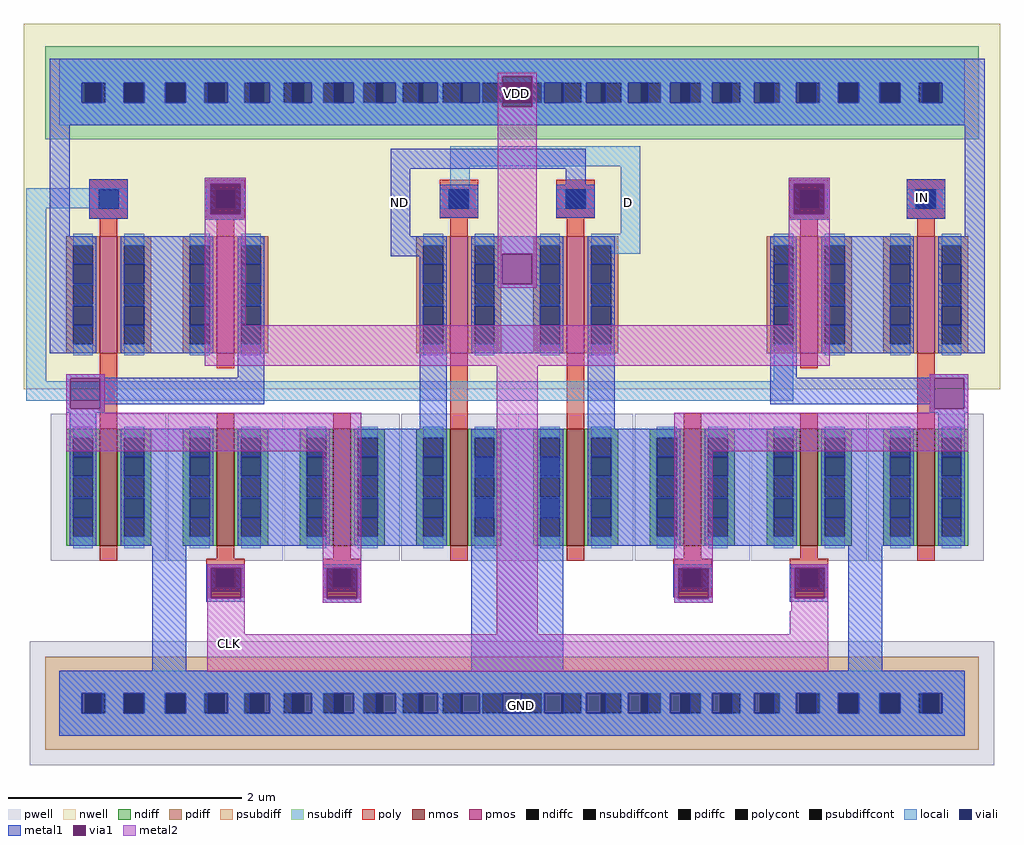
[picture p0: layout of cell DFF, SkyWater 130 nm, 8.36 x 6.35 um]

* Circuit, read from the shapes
.subckt DFF GND IN ND D VDD CLK
XM1 GND n1 n2 GND sky130_fd_pr__nfet_01v8 w=1 l=0.15
XM2 n3 CLK GND GND sky130_fd_pr__nfet_01v8 w=1 l=0.15
XM3 ND n2 n3 GND sky130_fd_pr__nfet_01v8 w=1 l=0.15
XM4 GND D ND GND sky130_fd_pr__nfet_01v8 w=1 l=0.15
XM5 D ND GND GND sky130_fd_pr__nfet_01v8 w=1 l=0.15
XM6 n4 n1 D GND sky130_fd_pr__nfet_01v8 w=1 l=0.15
XM7 GND CLK n4 GND sky130_fd_pr__nfet_01v8 w=1 l=0.15
XM8 n1 IN GND GND sky130_fd_pr__nfet_01v8 w=1 l=0.15
XM9 n5 n1 VDD VDD sky130_fd_pr__pfet_01v8 w=1 l=0.15
XM10 n2 CLK n5 VDD sky130_fd_pr__pfet_01v8 w=1 l=0.15
XM11 VDD D ND VDD sky130_fd_pr__pfet_01v8 w=1 l=0.15
XM12 D ND VDD VDD sky130_fd_pr__pfet_01v8 w=1 l=0.15
XM13 n6 CLK n1 VDD sky130_fd_pr__pfet_01v8 w=1 l=0.15
XM14 VDD IN n6 VDD sky130_fd_pr__pfet_01v8 w=1 l=0.15
.ends

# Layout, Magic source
magic
tech sky130A
magscale 1 2
<< nwell >>
rect -636 0 1036 626
<< pwell >>
rect -626 -644 1026 -432
<< psubdiff >>
rect -600 -521 1000 -458
rect -600 -555 -531 -521
rect -497 -555 -463 -521
rect -429 -555 -395 -521
rect -361 -555 -327 -521
rect -293 -555 -259 -521
rect -225 -555 -191 -521
rect -157 -555 -123 -521
rect -89 -555 -55 -521
rect -21 -555 13 -521
rect 47 -555 81 -521
rect 115 -555 149 -521
rect 183 -555 217 -521
rect 251 -555 285 -521
rect 319 -555 353 -521
rect 387 -555 421 -521
rect 455 -555 489 -521
rect 523 -555 557 -521
rect 591 -555 625 -521
rect 659 -555 693 -521
rect 727 -555 761 -521
rect 795 -555 829 -521
rect 863 -555 897 -521
rect 931 -555 1000 -521
rect -600 -618 1000 -555
<< nsubdiff >>
rect -600 525 1000 588
rect -600 491 -531 525
rect -497 491 -463 525
rect -429 491 -395 525
rect -361 491 -327 525
rect -293 491 -259 525
rect -225 491 -191 525
rect -157 491 -123 525
rect -89 491 -55 525
rect -21 491 13 525
rect 47 491 81 525
rect 115 491 149 525
rect 183 491 217 525
rect 251 491 285 525
rect 319 491 353 525
rect 387 491 421 525
rect 455 491 489 525
rect 523 491 557 525
rect 591 491 625 525
rect 659 491 693 525
rect 727 491 761 525
rect 795 491 829 525
rect 863 491 897 525
rect 931 491 1000 525
rect -600 428 1000 491
<< psubdiffcont >>
rect -531 -555 -497 -521
rect -463 -555 -429 -521
rect -395 -555 -361 -521
rect -327 -555 -293 -521
rect -259 -555 -225 -521
rect -191 -555 -157 -521
rect -123 -555 -89 -521
rect -55 -555 -21 -521
rect 13 -555 47 -521
rect 81 -555 115 -521
rect 149 -555 183 -521
rect 217 -555 251 -521
rect 285 -555 319 -521
rect 353 -555 387 -521
rect 421 -555 455 -521
rect 489 -555 523 -521
rect 557 -555 591 -521
rect 625 -555 659 -521
rect 693 -555 727 -521
rect 761 -555 795 -521
rect 829 -555 863 -521
rect 897 -555 931 -521
<< nsubdiffcont >>
rect -531 491 -497 525
rect -463 491 -429 525
rect -395 491 -361 525
rect -327 491 -293 525
rect -259 491 -225 525
rect -191 491 -157 525
rect -123 491 -89 525
rect -55 491 -21 525
rect 13 491 47 525
rect 81 491 115 525
rect 149 491 183 525
rect 217 491 251 525
rect 285 491 319 525
rect 353 491 387 525
rect 421 491 455 525
rect 489 491 523 525
rect 557 491 591 525
rect 625 491 659 525
rect 693 491 727 525
rect 761 491 795 525
rect 829 491 863 525
rect 897 491 931 525
<< poly >>
rect -506 -42 -476 36
rect 94 -42 124 36
rect 294 -42 324 36
rect 894 -42 924 36
<< locali >>
rect -576 525 976 566
rect -576 491 -537 525
rect -497 491 -465 525
rect -429 491 -395 525
rect -359 491 -327 525
rect -287 491 -259 525
rect -215 491 -191 525
rect -143 491 -123 525
rect -71 491 -55 525
rect 1 491 13 525
rect 73 491 81 525
rect 145 491 149 525
rect 251 491 255 525
rect 319 491 327 525
rect 387 491 399 525
rect 455 491 471 525
rect 523 491 543 525
rect 591 491 615 525
rect 659 491 687 525
rect 727 491 759 525
rect 795 491 829 525
rect 865 491 897 525
rect 937 491 976 525
rect -576 452 976 491
rect 94 382 420 416
rect -632 310 -458 344
rect 94 342 128 382
rect -632 14 -598 310
rect 386 266 420 382
rect 370 232 420 266
rect 648 14 682 58
rect -632 -20 682 14
rect -576 -521 976 -482
rect -576 -555 -537 -521
rect -497 -555 -465 -521
rect -429 -555 -395 -521
rect -359 -555 -327 -521
rect -287 -555 -259 -521
rect -215 -555 -191 -521
rect -143 -555 -123 -521
rect -71 -555 -55 -521
rect 1 -555 13 -521
rect 73 -555 81 -521
rect 145 -555 149 -521
rect 251 -555 255 -521
rect 319 -555 327 -521
rect 387 -555 399 -521
rect 455 -555 471 -521
rect 523 -555 543 -521
rect 591 -555 615 -521
rect 659 -555 687 -521
rect 727 -555 759 -521
rect 795 -555 829 -521
rect 865 -555 897 -521
rect 937 -555 976 -521
rect -576 -594 976 -555
<< viali >>
rect -537 491 -531 525
rect -531 491 -503 525
rect -465 491 -463 525
rect -463 491 -431 525
rect -393 491 -361 525
rect -361 491 -359 525
rect -321 491 -293 525
rect -293 491 -287 525
rect -249 491 -225 525
rect -225 491 -215 525
rect -177 491 -157 525
rect -157 491 -143 525
rect -105 491 -89 525
rect -89 491 -71 525
rect -33 491 -21 525
rect -21 491 1 525
rect 39 491 47 525
rect 47 491 73 525
rect 111 491 115 525
rect 115 491 145 525
rect 183 491 217 525
rect 255 491 285 525
rect 285 491 289 525
rect 327 491 353 525
rect 353 491 361 525
rect 399 491 421 525
rect 421 491 433 525
rect 471 491 489 525
rect 489 491 505 525
rect 543 491 557 525
rect 557 491 577 525
rect 615 491 625 525
rect 625 491 649 525
rect 687 491 693 525
rect 693 491 721 525
rect 759 491 761 525
rect 761 491 793 525
rect 831 491 863 525
rect 863 491 865 525
rect 903 491 931 525
rect 931 491 937 525
rect -537 -555 -531 -521
rect -531 -555 -503 -521
rect -465 -555 -463 -521
rect -463 -555 -431 -521
rect -393 -555 -361 -521
rect -361 -555 -359 -521
rect -321 -555 -293 -521
rect -293 -555 -287 -521
rect -249 -555 -225 -521
rect -225 -555 -215 -521
rect -177 -555 -157 -521
rect -157 -555 -143 -521
rect -105 -555 -89 -521
rect -89 -555 -71 -521
rect -33 -555 -21 -521
rect -21 -555 1 -521
rect 39 -555 47 -521
rect 47 -555 73 -521
rect 111 -555 115 -521
rect 115 -555 145 -521
rect 183 -555 217 -521
rect 255 -555 285 -521
rect 285 -555 289 -521
rect 327 -555 353 -521
rect 353 -555 361 -521
rect 399 -555 421 -521
rect 421 -555 433 -521
rect 471 -555 489 -521
rect 489 -555 505 -521
rect 543 -555 557 -521
rect 557 -555 577 -521
rect 615 -555 625 -521
rect 625 -555 649 -521
rect 687 -555 693 -521
rect 693 -555 721 -521
rect 759 -555 761 -521
rect 761 -555 793 -521
rect 831 -555 863 -521
rect 863 -555 865 -521
rect 903 -555 931 -521
rect 931 -555 937 -521
<< metal1 >>
rect -592 536 1010 566
rect -592 525 183 536
rect 235 525 1010 536
rect -592 491 -537 525
rect -503 491 -465 525
rect -431 491 -393 525
rect -359 491 -321 525
rect -287 491 -249 525
rect -215 491 -177 525
rect -143 491 -105 525
rect -71 491 -33 525
rect 1 491 39 525
rect 73 491 111 525
rect 145 491 183 525
rect 235 491 255 525
rect 289 491 327 525
rect 361 491 399 525
rect 433 491 471 525
rect 505 491 543 525
rect 577 491 615 525
rect 649 491 687 525
rect 721 491 759 525
rect 793 491 831 525
rect 865 491 903 525
rect 937 491 1010 525
rect -592 484 183 491
rect 235 484 1010 491
rect -592 452 1010 484
rect -592 62 -558 452
rect -8 378 326 412
rect -524 292 -458 360
rect -326 352 -256 362
rect -326 300 -317 352
rect -265 300 -256 352
rect -326 290 -256 300
rect -8 262 26 378
rect 292 350 326 378
rect 674 352 744 362
rect 76 294 142 350
rect 276 294 342 350
rect 674 300 683 352
rect 735 300 744 352
rect 674 290 744 300
rect 876 292 942 360
rect -424 62 -358 262
rect -8 228 42 262
rect 176 232 242 262
rect 176 180 183 232
rect 235 180 242 232
rect 176 62 242 180
rect 776 62 842 262
rect 976 62 1010 452
rect -564 20 -498 26
rect -270 20 -224 62
rect -564 19 -224 20
rect -564 -33 -557 19
rect -505 -26 -224 19
rect -505 -33 -498 -26
rect -564 -40 -498 -33
rect -558 -68 -512 -40
rect 42 -68 88 62
rect 330 -68 376 62
rect 642 20 688 62
rect 916 20 982 26
rect 642 19 982 20
rect 642 -26 923 19
rect 916 -33 923 -26
rect 975 -33 982 19
rect 916 -40 982 -33
rect 930 -68 976 -40
rect -430 -268 -358 -68
rect -224 -268 -158 -68
rect -24 -268 42 -68
rect -416 -482 -358 -268
rect -324 -306 -258 -300
rect -324 -358 -316 -306
rect -264 -358 -258 -306
rect -324 -364 -258 -358
rect -124 -307 -58 -300
rect -124 -359 -117 -307
rect -65 -359 -58 -307
rect -124 -366 -58 -359
rect 130 -482 288 -68
rect 376 -268 442 -68
rect 576 -268 642 -68
rect 776 -268 842 -68
rect 476 -307 544 -300
rect 476 -356 485 -307
rect 478 -359 485 -356
rect 537 -359 544 -307
rect 478 -366 544 -359
rect 676 -306 742 -300
rect 676 -358 684 -306
rect 736 -358 742 -306
rect 676 -364 742 -358
rect 776 -482 834 -268
rect -576 -521 976 -482
rect -576 -555 -537 -521
rect -503 -555 -465 -521
rect -431 -555 -393 -521
rect -359 -555 -321 -521
rect -287 -555 -249 -521
rect -215 -555 -177 -521
rect -143 -555 -105 -521
rect -71 -555 -33 -521
rect 1 -555 39 -521
rect 73 -555 111 -521
rect 145 -555 183 -521
rect 217 -555 255 -521
rect 289 -555 327 -521
rect 361 -555 399 -521
rect 433 -555 471 -521
rect 505 -555 543 -521
rect 577 -555 615 -521
rect 649 -555 687 -521
rect 721 -555 759 -521
rect 793 -555 831 -521
rect 865 -555 903 -521
rect 937 -555 976 -521
rect -576 -594 976 -555
<< via1 >>
rect 183 525 235 536
rect 183 491 217 525
rect 217 491 235 525
rect 183 484 235 491
rect -317 300 -265 352
rect 683 300 735 352
rect 183 180 235 232
rect -557 -33 -505 19
rect 923 -33 975 19
rect -316 -358 -264 -306
rect -117 -359 -65 -307
rect 485 -359 537 -307
rect 684 -358 736 -306
<< metal2 >>
rect 176 536 242 542
rect 176 484 183 536
rect 235 484 242 536
rect -326 352 -256 362
rect -326 300 -317 352
rect -265 300 -256 352
rect -326 110 -256 300
rect 176 232 242 484
rect 176 180 183 232
rect 235 180 242 232
rect 176 174 242 180
rect 674 352 744 362
rect 674 300 683 352
rect 735 300 744 352
rect 674 110 744 300
rect -326 40 744 110
rect -564 19 -498 26
rect -564 -33 -557 19
rect -505 -33 -498 19
rect -564 -40 -498 -33
rect -564 -106 -58 -40
rect -322 -306 -258 -300
rect -322 -358 -316 -306
rect -264 -358 -258 -306
rect -322 -420 -258 -358
rect -124 -307 -58 -106
rect -124 -359 -117 -307
rect -65 -359 -58 -307
rect -124 -366 -58 -359
rect 174 -420 244 40
rect 916 19 982 26
rect 916 -33 923 19
rect 975 -33 982 19
rect 916 -40 982 -33
rect 478 -106 982 -40
rect 478 -307 544 -106
rect 478 -359 485 -307
rect 537 -359 544 -307
rect 478 -366 544 -359
rect 678 -306 742 -300
rect 678 -358 684 -306
rect 736 -358 742 -306
rect 678 -380 742 -358
rect 676 -420 742 -380
rect -322 -484 742 -420
use sky130_fd_pr__nfet_01v8_6H9P4D  sky130_fd_pr__nfet_01v8_6H9P4D_0
transform 1 0 109 0 1 -168
box -99 -126 99 126
use sky130_fd_pr__nfet_01v8_6H9P4D  sky130_fd_pr__nfet_01v8_6H9P4D_1
transform 1 0 309 0 1 -168
box -99 -126 99 126
use sky130_fd_pr__nfet_01v8_6H9P4D  sky130_fd_pr__nfet_01v8_6H9P4D_2
transform 1 0 -491 0 1 -168
box -99 -126 99 126
use sky130_fd_pr__nfet_01v8_6H9P4D  sky130_fd_pr__nfet_01v8_6H9P4D_3
transform 1 0 909 0 1 -168
box -99 -126 99 126
use sky130_fd_pr__nfet_01v8_59MFY5  sky130_fd_pr__nfet_01v8_59MFY5_0
transform 1 0 -91 0 1 -199
box -99 -157 99 157
use sky130_fd_pr__nfet_01v8_59MFY5  sky130_fd_pr__nfet_01v8_59MFY5_1
transform 1 0 -291 0 1 -199
box -99 -157 99 157
use sky130_fd_pr__nfet_01v8_59MFY5  sky130_fd_pr__nfet_01v8_59MFY5_2
transform 1 0 509 0 1 -199
box -99 -157 99 157
use sky130_fd_pr__nfet_01v8_59MFY5  sky130_fd_pr__nfet_01v8_59MFY5_3
transform 1 0 709 0 1 -199
box -99 -157 99 157
use sky130_fd_pr__pfet_01v8_MA8JHN  sky130_fd_pr__pfet_01v8_MA8JHN_0
transform 1 0 109 0 1 198
box -109 -198 109 164
use sky130_fd_pr__pfet_01v8_MA8JHN  sky130_fd_pr__pfet_01v8_MA8JHN_1
transform 1 0 309 0 1 198
box -109 -198 109 164
use sky130_fd_pr__pfet_01v8_MA8JHN  sky130_fd_pr__pfet_01v8_MA8JHN_2
transform 1 0 709 0 1 198
box -109 -198 109 164
use sky130_fd_pr__pfet_01v8_MA8JHN  sky130_fd_pr__pfet_01v8_MA8JHN_3
transform 1 0 909 0 1 198
box -109 -198 109 164
use sky130_fd_pr__pfet_01v8_MA8JHN  sky130_fd_pr__pfet_01v8_MA8JHN_4
transform 1 0 -291 0 1 198
box -109 -198 109 164
use sky130_fd_pr__pfet_01v8_MA8JHN  sky130_fd_pr__pfet_01v8_MA8JHN_5
transform 1 0 -491 0 1 198
box -109 -198 109 164
<< labels >>
flabel metal1 s 216 -542 216 -542 0 FreeSans 600 0 0 0 GND
flabel metal1 s 904 328 904 328 0 FreeSans 600 0 0 0 IN
flabel metal1 s 8 320 8 320 0 FreeSans 600 0 0 0 ND
flabel metal1 s 216 -542 216 -542 0 FreeSans 600 0 0 0 GND
port 1 nsew
flabel metal1 s 904 328 904 328 0 FreeSans 600 0 0 0 IN
port 2 nsew
flabel metal1 s 8 320 8 320 0 FreeSans 600 0 0 0 ND
port 3 nsew
flabel locali s 400 320 400 320 0 FreeSans 600 0 0 0 D
flabel locali s 400 320 400 320 0 FreeSans 600 0 0 0 D
port 4 nsew
flabel metal2 s 208 506 208 506 0 FreeSans 600 0 0 0 VDD
flabel metal2 s -284 -436 -284 -436 0 FreeSans 600 0 0 0 CLK
flabel metal2 s 208 506 208 506 0 FreeSans 600 0 0 0 VDD
port 5 nsew
flabel metal2 s -284 -436 -284 -436 0 FreeSans 600 0 0 0 CLK
port 6 nsew
<< end >>

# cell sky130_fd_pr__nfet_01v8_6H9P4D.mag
magic
tech sky130A
magscale 1 2
<< pwell >>
rect -99 -126 99 126
<< nmos >>
rect -15 -100 15 100
<< ndiff >>
rect -73 85 -15 100
rect -73 51 -61 85
rect -27 51 -15 85
rect -73 17 -15 51
rect -73 -17 -61 17
rect -27 -17 -15 17
rect -73 -51 -15 -17
rect -73 -85 -61 -51
rect -27 -85 -15 -51
rect -73 -100 -15 -85
rect 15 85 73 100
rect 15 51 27 85
rect 61 51 73 85
rect 15 17 73 51
rect 15 -17 27 17
rect 61 -17 73 17
rect 15 -51 73 -17
rect 15 -85 27 -51
rect 61 -85 73 -51
rect 15 -100 73 -85
<< ndiffc >>
rect -61 51 -27 85
rect -61 -17 -27 17
rect -61 -85 -27 -51
rect 27 51 61 85
rect 27 -17 61 17
rect 27 -85 61 -51
<< poly >>
rect -15 100 15 126
rect -15 -126 15 -100
<< locali >>
rect -61 85 -27 104
rect -61 17 -27 19
rect -61 -19 -27 -17
rect -61 -104 -27 -85
rect 27 85 61 104
rect 27 17 61 19
rect 27 -19 61 -17
rect 27 -104 61 -85
<< viali >>
rect -61 51 -27 53
rect -61 19 -27 51
rect -61 -51 -27 -19
rect -61 -53 -27 -51
rect 27 51 61 53
rect 27 19 61 51
rect 27 -51 61 -19
rect 27 -53 61 -51
<< metal1 >>
rect -67 53 -21 100
rect -67 19 -61 53
rect -27 19 -21 53
rect -67 -19 -21 19
rect -67 -53 -61 -19
rect -27 -53 -21 -19
rect -67 -100 -21 -53
rect 21 53 67 100
rect 21 19 27 53
rect 61 19 67 53
rect 21 -19 67 19
rect 21 -53 27 -19
rect 61 -53 67 -19
rect 21 -100 67 -53
<< end >>

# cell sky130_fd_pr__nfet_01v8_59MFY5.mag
magic
tech sky130A
magscale 1 2
<< pwell >>
rect -99 -95 99 157
<< nmos >>
rect -15 -69 15 131
<< ndiff >>
rect -73 116 -15 131
rect -73 82 -61 116
rect -27 82 -15 116
rect -73 48 -15 82
rect -73 14 -61 48
rect -27 14 -15 48
rect -73 -20 -15 14
rect -73 -54 -61 -20
rect -27 -54 -15 -20
rect -73 -69 -15 -54
rect 15 116 73 131
rect 15 82 27 116
rect 61 82 73 116
rect 15 48 73 82
rect 15 14 27 48
rect 61 14 73 48
rect 15 -20 73 14
rect 15 -54 27 -20
rect 61 -54 73 -20
rect 15 -69 73 -54
<< ndiffc >>
rect -61 82 -27 116
rect -61 14 -27 48
rect -61 -54 -27 -20
rect 27 82 61 116
rect 27 14 61 48
rect 27 -54 61 -20
<< poly >>
rect -15 131 15 157
rect -15 -91 15 -69
rect -33 -107 33 -91
rect -33 -141 -17 -107
rect 17 -141 33 -107
rect -33 -157 33 -141
<< polycont >>
rect -17 -141 17 -107
<< locali >>
rect -61 116 -27 135
rect -61 48 -27 50
rect -61 12 -27 14
rect -61 -73 -27 -54
rect 27 116 61 135
rect 27 48 61 50
rect 27 12 61 14
rect 27 -73 61 -54
rect -33 -141 -17 -107
rect 17 -141 33 -107
<< viali >>
rect -61 82 -27 84
rect -61 50 -27 82
rect -61 -20 -27 12
rect -61 -22 -27 -20
rect 27 82 61 84
rect 27 50 61 82
rect 27 -20 61 12
rect 27 -22 61 -20
rect -17 -141 17 -107
<< metal1 >>
rect -67 84 -21 131
rect -67 50 -61 84
rect -27 50 -21 84
rect -67 12 -21 50
rect -67 -22 -61 12
rect -27 -22 -21 12
rect -67 -69 -21 -22
rect 21 84 67 131
rect 21 50 27 84
rect 61 50 67 84
rect 21 12 67 50
rect 21 -22 27 12
rect 61 -22 67 12
rect 21 -69 67 -22
rect -29 -107 29 -101
rect -29 -141 -17 -107
rect 17 -141 29 -107
rect -29 -147 29 -141
<< end >>

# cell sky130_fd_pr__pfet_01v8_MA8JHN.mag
magic
tech sky130A
magscale 1 2
<< nwell >>
rect -109 -198 109 164
<< pmos >>
rect -15 -136 15 64
<< pdiff >>
rect -73 49 -15 64
rect -73 15 -61 49
rect -27 15 -15 49
rect -73 -19 -15 15
rect -73 -53 -61 -19
rect -27 -53 -15 -19
rect -73 -87 -15 -53
rect -73 -121 -61 -87
rect -27 -121 -15 -87
rect -73 -136 -15 -121
rect 15 49 73 64
rect 15 15 27 49
rect 61 15 73 49
rect 15 -19 73 15
rect 15 -53 27 -19
rect 61 -53 73 -19
rect 15 -87 73 -53
rect 15 -121 27 -87
rect 61 -121 73 -87
rect 15 -136 73 -121
<< pdiffc >>
rect -61 15 -27 49
rect -61 -53 -27 -19
rect -61 -121 -27 -87
rect 27 15 61 49
rect 27 -53 61 -19
rect 27 -121 61 -87
<< poly >>
rect -33 145 33 161
rect -33 111 -17 145
rect 17 111 33 145
rect -33 95 33 111
rect -15 64 15 95
rect -15 -162 15 -136
<< polycont >>
rect -17 111 17 145
<< locali >>
rect -33 111 -17 145
rect 17 111 33 145
rect -61 49 -27 68
rect -61 -19 -27 -17
rect -61 -55 -27 -53
rect -61 -140 -27 -121
rect 27 49 61 68
rect 27 -19 61 -17
rect 27 -55 61 -53
rect 27 -140 61 -121
<< viali >>
rect -17 111 17 145
rect -61 15 -27 17
rect -61 -17 -27 15
rect -61 -87 -27 -55
rect -61 -89 -27 -87
rect 27 15 61 17
rect 27 -17 61 15
rect 27 -87 61 -55
rect 27 -89 61 -87
<< metal1 >>
rect -29 145 29 151
rect -29 111 -17 145
rect 17 111 29 145
rect -29 105 29 111
rect -67 17 -21 64
rect -67 -17 -61 17
rect -27 -17 -21 17
rect -67 -55 -21 -17
rect -67 -89 -61 -55
rect -27 -89 -21 -55
rect -67 -136 -21 -89
rect 21 17 67 64
rect 21 -17 27 17
rect 61 -17 67 17
rect 21 -55 67 -17
rect 21 -89 27 -55
rect 61 -89 67 -55
rect 21 -136 67 -89
<< end >>
